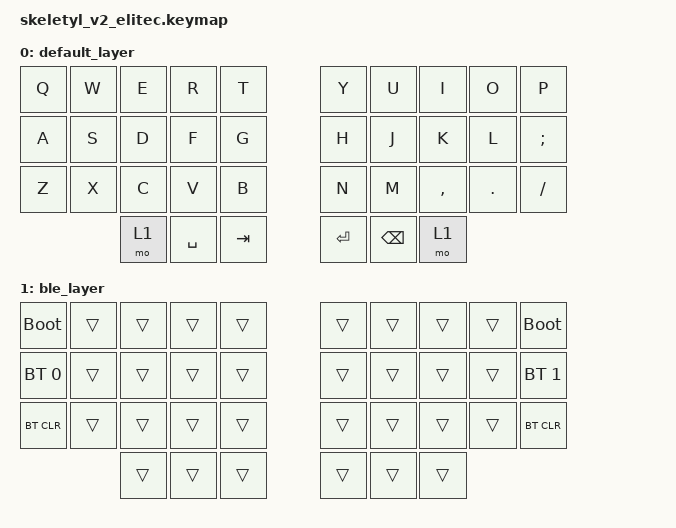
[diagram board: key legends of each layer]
/*
 * Copyright (c) 2024 ZMK Contributors
 *
 * SPDX-License-Identifier: MIT
 */


#include <behaviors.dtsi>
#include <dt-bindings/zmk/keys.h>
#include <dt-bindings/zmk/bt.h>

/ {
	keymap {
		compatible = "zmk,keymap";

		default_layer {
			bindings = <
&kp Q		&kp W		&kp E		&kp R		&kp T		&kp Y		&kp U		&kp I		&kp O		&kp P 
&kp A   	&kp S     	&kp D		&kp F		&kp G		&kp H		&kp J		&kp K		&kp L		&kp SEMI          
&kp Z		&kp X		&kp C		&kp V		&kp B		&kp N		&kp M		&kp COMMA	&kp DOT		&kp SLASH      
						&mo 1		&kp SPACE	&kp TAB		&kp RET		&kp BSPC	&mo 1

			>;
		};

		ble_layer {
			bindings = <
&bootloader	 &trans		&trans		&trans		&trans		&trans		&trans		&trans		&trans		&bootloader
&bt BT_SEL 0 &trans		&trans		&trans		&trans		&trans		&trans		&trans		&trans		&bt BT_SEL 1  
&bt BT_CLR   &trans		&trans		&trans		&trans		&trans		&trans		&trans		&trans		&bt BT_CLR        
						&trans		&trans		&trans		&trans		&trans		&trans
			>;
		};

	};
};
